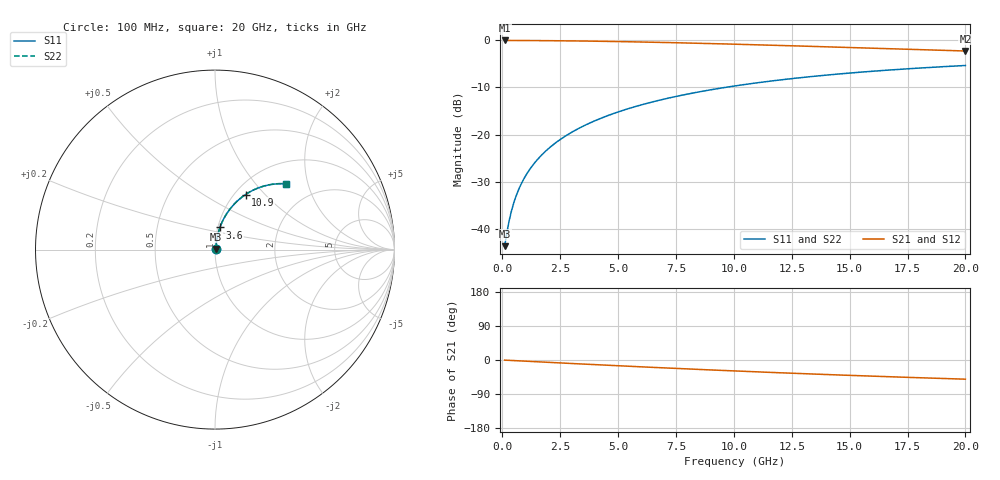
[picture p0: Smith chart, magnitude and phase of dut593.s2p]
! Touchstone file exported from HFSS 2024.1.0
!  File:  C:/UserFiles/LocalFiles/RDL_TSV_Batchsim/temp_RDL_top_593_1779682553.aedt
!  Generated:  12:18:35 PM May 25, 2026
!  Design:  RDL_top
!  Project:  temp_RDL_top_593_1779682553
!  Setup:  Setup1
!  Solution:  Sweep
! Variables:
!  dtsv = 10.80580581um
!  hbump = 3um
!  htsv = 91.28um
!  ldown = 100um
!  lrdl = 676.5um
!  p = 40
!  p1 = 50.07um
!  rhole = 1um
!  t = 450um
!  tdown = 3.915915916um
!  trdl = 3.87um
!  wdown = 15.38538539um
!  wrdl = 11.42um
# GHz S MA R 50.000000
! Terminal data exported
! Port[1] = Box2_T1
! Port[2] = Box2_T2
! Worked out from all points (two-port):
!   200 points, 100 MHz to 20 GHz, reference 50 ohm
!   highest |S21| = -0.05 dB at 100 MHz (marker M1); lowest = -2.3 dB at 20 GHz (marker M2)
!   |S21| within 3 dB of the highest: start of sweep to end of sweep
!   lowest |S11| = -43.7 dB at 100 MHz (marker M3), VSWR 1.01, Z = 50.5 + j0.37 ohm
!   |S11| at or under -10 dB: start of sweep to 9.632 GHz
!   |S22| runs from -43.7 to -5.4 dB; largest |S21 - S12| = 1.4e-14
!   S11 on the Smith chart (normalised r, x): 100 MHz: 1.01, +0.01; 3.6 GHz: 1.02, +0.26; 10.9 GHz: 1.12, +0.78; 20 GHz: 1.42, +1.47
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0.1  0.006553 33.9  0.9946 -0.3  0.9946 -0.3  0.006553 33.9
! Gamma 0 0 0 0
! Port Impedance 50 0 50 0
0.2  0.009163 52.7  0.9945 -0.6  0.9945 -0.6  0.009163 52.7
0.3  0.0123 62.3  0.9943 -1.0  0.9943 -1.0  0.0123 62.3
0.4  0.01562 67.7  0.9942 -1.3  0.9942 -1.3  0.01562 67.7
0.5  0.01902 71.1  0.994 -1.6  0.994 -1.6  0.01902 71.1
0.6  0.02245 73.3  0.9938 -1.9  0.9938 -1.9  0.02245 73.3
0.8  0.02935 76.2  0.9934 -2.5  0.9934 -2.5  0.02935 76.2
1.1  0.03976 78.3  0.9926 -3.4  0.9926 -3.4  0.03976 78.3
1.5  0.0537 79.4  0.9914 -4.7  0.9914 -4.7  0.05371 79.4
2.1  0.07463 79.6  0.989 -6.5  0.989 -6.5  0.07463 79.6
2.7  0.09546 79.0  0.9859 -8.3  0.9859 -8.3  0.09547 79.0
3.5  0.123 77.6  0.9807 -10.7  0.9807 -10.7  0.123 77.7
3.6  0.1264 77.4  0.98 -11.0  0.98 -11.0  0.1264 77.5
4.3  0.1502 76.0  0.9745 -13.1  0.9745 -13.1  0.1502 76.1
5  0.1735 74.5  0.9682 -15.2  0.9682 -15.2  0.1736 74.5
6.8  0.2317 70.4  0.9492 -20.3  0.9492 -20.3  0.2318 70.4
8.3  0.2776 66.9  0.9309 -24.4  0.9309 -24.4  0.2777 66.9
10.1  0.3293 62.8  0.907 -29.1  0.907 -29.1  0.3294 62.8
10.9  0.3509 61.0  0.8959 -31.1  0.8959 -31.1  0.3511 61.0
13.4  0.4132 55.5  0.8603 -37.0  0.8603 -37.0  0.4134 55.6
16.7  0.483 48.8  0.8134 -44.2  0.8134 -44.2  0.4833 48.9
20  0.5396 42.7  0.7689 -50.6  0.7689 -50.6  0.5399 42.8
